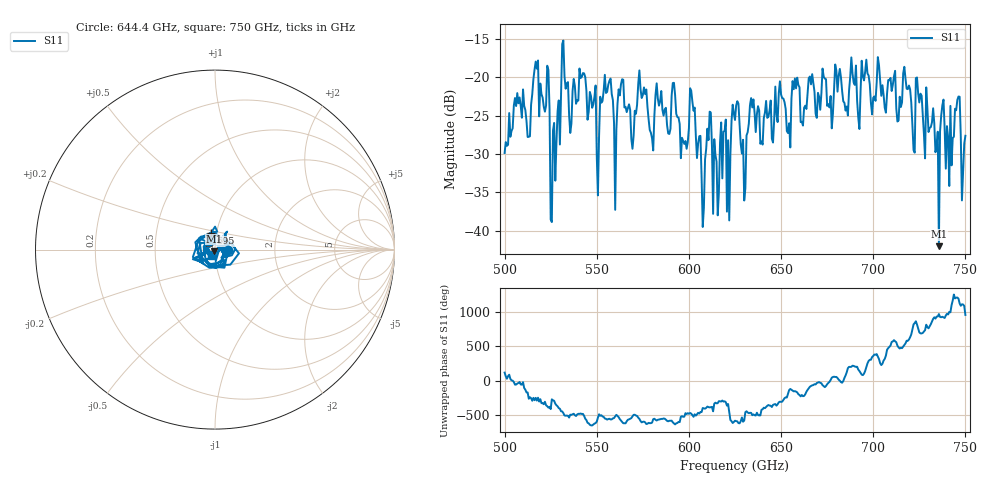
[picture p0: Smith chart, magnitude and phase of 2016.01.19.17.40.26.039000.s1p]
!Created with skrf (http://scikit-rf.org).
# GHz S RI R 50.0
!freq ReS11 ImS11
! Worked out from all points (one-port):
!   401 points, 500 GHz to 750 GHz, reference 50 ohm
!   lowest |S11| = -42.0 dB at 735.6 GHz (marker M1), VSWR 1.02, Z = 49.7 - j0.733 ohm
!   |S11| at or under -10 dB: start of sweep to end of sweep
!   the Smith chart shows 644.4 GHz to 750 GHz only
!   S11 on the Smith chart (normalised r, x): 644.4 GHz: 1.15, -0.00; 695 GHz: 0.94, +0.18; 750 GHz: 0.95, -0.06
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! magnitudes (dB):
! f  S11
! 500 GHz  -29.9
! 506.9 GHz  -22.1
! 513.1 GHz  -27.8
! 516.9 GHz  -18.0
! 523.1 GHz  -18.5
! 526.2 GHz  -26.9
! 531.2 GHz  -15.7
! 551.2 GHz  -27.7
! 553.1 GHz  -23.1
! 560 GHz  -37.3
! 562.5 GHz  -22.4
! 593.8 GHz  -25.2
! 598.1 GHz  -28.3
! 601.9 GHz  -23.2
! 608.1 GHz  -37.0
! 610.6 GHz  -28.2
! 621.9 GHz  -38.6
! 625 GHz  -25.6
! 629.4 GHz  -28.1
! 634.4 GHz  -23.9
! 644.4 GHz  -23.0
! 656.2 GHz  -20.5
! 687.5 GHz  -20.0
! 695 GHz  -20.4
! 718.8 GHz  -21.6
! 735.6 GHz  -42.0
! 745.6 GHz  -23.0
! 750 GHz  -27.6
